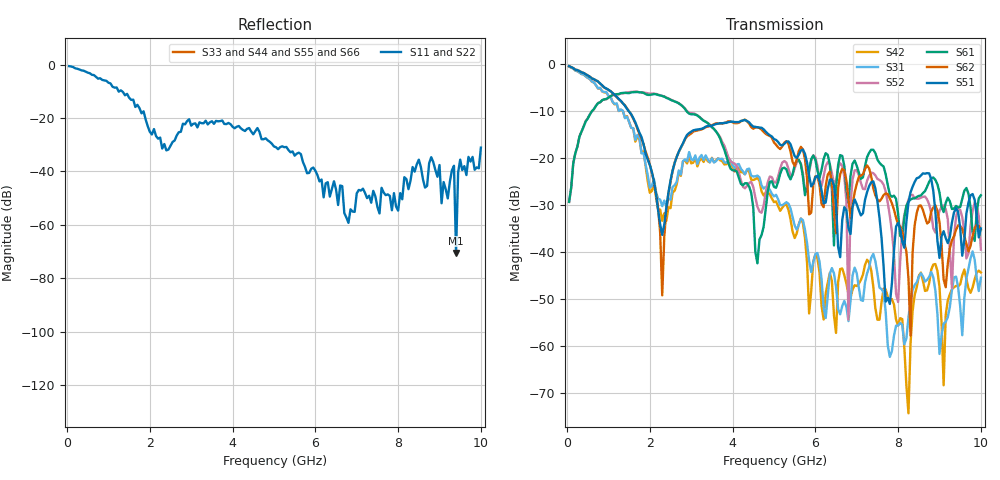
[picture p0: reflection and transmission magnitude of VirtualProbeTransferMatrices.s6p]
# MHz MA S R 50.0
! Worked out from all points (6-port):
!   200 points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, 50 MHz to 10 GHz, reference 50 ohm
!   strongest paths, dB at 50 MHz, 2.55 GHz, 5.05 GHz, 7.55 GHz, 10 GHz:
!     S51: -0.5, -22.7, -16.2, -32.7, -35.0
!     S62: -0.5, -22.9, -17.2, -29.2, -35.2
!     S61: -29.3, -7.8, -26.3, -21.0, -27.9
!     S52: -29.4, -7.8, -25.3, -24.7, -39.5
!     S31: -0.6, -26.2, -27.9, -47.6, -45.5
!     S42: -0.6, -27.4, -29.3, -54.4, -44.3
!   lowest |S11| = -70.6 dB at 9.4 GHz (marker M1), VSWR 1.00, Z = 50 - j0.0167 ohm
!   |S11| at or under -10 dB: 1.245 GHz to 1.265 GHz (19.44 MHz wide, 1.55 % of centre); 1.328 GHz to end of sweep
